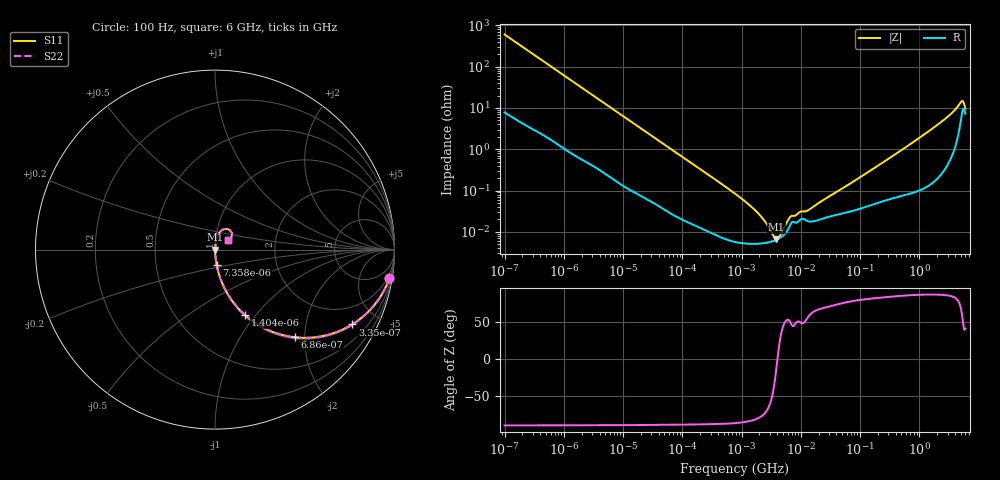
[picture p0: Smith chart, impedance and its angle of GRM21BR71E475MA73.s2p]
!Murata Part Number: GRM21BR71E475MA73
!These Parameters are Measured in Series Mode Connection
!Data Generated on Mar 30, 2021
!  o--ll--o
!Port1  Port2
!  o------o
!Operation Temp=25[degC], DC Bias Voltage=0[V]
!Freq. Start=100[Hz] Stop=6[GHz] 401[Steps]
# Hz S RI R 50
!Freq.(Hz) S11(Real) S11(Imag) S21(Real) S21(Imag) S12(Real) S12(Imag) S22(Real) S22(Imag)
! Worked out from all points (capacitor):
!   401 points, 100 Hz to 6 GHz, reference 50 ohm
!   read as one part in series: C = 2.63 uF near 109 Hz
!   lowest |Z| = 6.56 mohm at 3.882 MHz (marker M1)
!   series resonance near 4.025 MHz, so ESL is about 590 pH
!   S11 on the Smith chart (normalised r, x): 100 Hz: 1, -12; 335 Hz: 1.06, -3.64; 686 Hz: 1.03, -1.79; 1.404 kHz: 1.02, -0.88; 7.358 kHz: 1.00, -0.17; 6 GHz: 1.14, +0.13
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100  0.9713 -0.1607  0.0287 0.1607  0.0287 0.1607  0.9713 -0.1607
196  0.9024 -0.29  0.0976 0.29  0.0976 0.29  0.9024 -0.29
335  0.7644 -0.4167  0.2356 0.4167  0.2356 0.4167  0.7644 -0.4167
501  0.597 -0.4824  0.403 0.4824  0.403 0.4824  0.597 -0.4824
686  0.4461 -0.4888  0.5539 0.4888  0.5539 0.4888  0.4461 -0.4888
1404  0.1669 -0.3644  0.8331 0.3644  0.8331 0.3644  0.1669 -0.3644
2008  0.0915 -0.2793  0.9085 0.2793  0.9085 0.2793  0.0915 -0.2793
7358  0.00901 -0.0849  0.991 0.0849  0.991 0.0849  0.00901 -0.0849
40335  0.000672 -0.016  0.9993 0.016  0.9993 0.016  0.000672 -0.016
774597  5.76e-05 -0.000841  0.9999 0.000841  0.9999 0.000841  5.76e-05 -0.000841
1813585  5.14e-05 -0.000299  0.9999 0.000299  0.9999 0.000299  5.14e-05 -0.000299
3103719  5.75e-05 -8.98e-05  0.9999 8.98e-05  0.9999 8.98e-05  5.75e-05 -8.98e-05
3882480  6.44e-05 -1.24e-05  0.9999 1.24e-05  0.9999 1.24e-05  6.44e-05 -1.24e-05
4856642  7.77e-05 6.67e-05  0.9999 -6.67e-05  0.9999 -6.67e-05  7.77e-05 6.67e-05
6353432  0.00013 0.000168  0.9999 -0.000168  0.9999 -0.000168  0.00013 0.000168
6948629  0.000167 0.000179  0.9998 -0.000179  0.9998 -0.000179  0.000167 0.000179
1.555665e7  0.000178 0.000347  0.9998 -0.000347  0.9998 -0.000347  0.000178 0.000347
3.124326e8  0.000651 0.00604  0.9993 -0.00604  0.9993 -0.00604  0.000651 0.00604
2.240541e9  0.00417 0.0433  0.9958 -0.0433  0.9958 -0.0433  0.00417 0.0433
4.009986e9  0.0187 0.0871  0.9813 -0.0871  0.9813 -0.0871  0.0187 0.0871
5.016141e9  0.0606 0.1154  0.9394 -0.1154  0.9394 -0.1154  0.0606 0.1154
6e9  0.0703 0.0549  0.9297 -0.0549  0.9297 -0.0549  0.0703 0.0549
